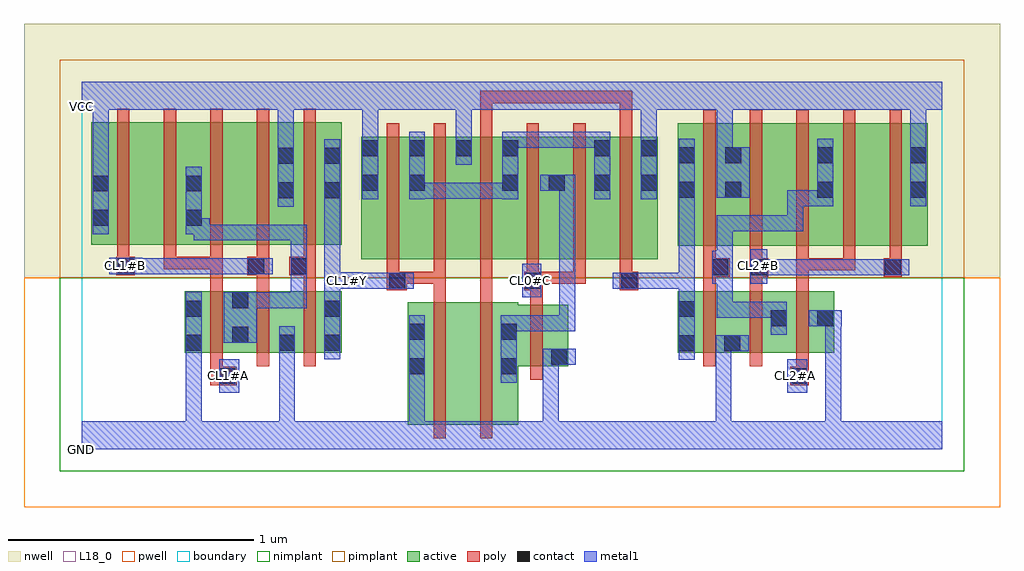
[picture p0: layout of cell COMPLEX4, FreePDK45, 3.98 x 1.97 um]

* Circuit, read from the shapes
.subckt COMPLEX4 CL0#C CL1#A CL1#B CL1#Y CL2#A CL2#B GND VCC
M1 n1 CL1#A GND VSUBS nfet w=0.25u l=0.05u
M2 GND CL1#B n1 VSUBS nfet w=0.25u l=0.05u
M3 CL1#Y n1 GND VSUBS nfet w=0.25u l=0.05u
M4 n2 CL1#Y GND VSUBS nfet w=0.5u l=0.05u
M5 n3 n4 n2 VSUBS nfet w=0.5u l=0.05u
M6 GND CL0#C n3 VSUBS nfet w=0.25u l=0.05u
M7 GND n5 n4 VSUBS nfet w=0.25u l=0.05u
M8 n5 CL2#B GND VSUBS nfet w=0.25u l=0.05u
M9 GND CL2#A n5 VSUBS nfet w=0.25u l=0.05u
M10 n6 CL1#B VCC n7 pfet w=0.5u l=0.05u
M11 n1 CL1#A n6 n7 pfet w=0.5u l=0.05u
M12 n8 CL1#A n1 n7 pfet w=0.5u l=0.05u
M13 VCC CL1#B n8 n7 pfet w=0.5u l=0.05u
M14 CL1#Y n1 VCC n7 pfet w=0.5u l=0.05u
M15 n9 CL1#Y VCC n7 pfet w=0.5u l=0.05u m=2
M16 n9 n4 VCC n7 pfet w=0.5u l=0.05u m=2
M17 n3 CL0#C n9 n7 pfet w=0.5u l=0.05u m=2
M18 VCC n5 n4 n7 pfet w=0.5u l=0.05u
M19 n10 CL2#B VCC n7 pfet w=0.5u l=0.05u
M20 n5 CL2#A n10 n7 pfet w=0.5u l=0.05u
M21 n11 CL2#A n5 n7 pfet w=0.5u l=0.05u
M22 VCC CL2#B n11 n7 pfet w=0.5u l=0.05u
.ends

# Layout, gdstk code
import gdstk
lib = gdstk.Library(unit=1e-6, precision=1e-09)
def R(c, l, rs):  # rectangles x0, y0, x1, y1
    for r in rs: c.add(gdstk.rectangle(r[:2], r[2:], *l))
def A(c, l, x, y, w, h, nx, ny, dx, dy):  # array of equal rectangles
    R(c, l, [(x+i*dx, y+j*dy, x+i*dx+w, y+j*dy+h) for i in range(nx) for j in range(ny)])
active = (1, 0)
pwell = (2, 0)
nwell = (3, 0)
nimplant = (4, 0)
pimplant = (5, 0)
poly = (9, 0)
contact = (10, 0)
metal1 = (11, 0)
L18_0 = (18, 0)
boundary = (235, 0)

complex4 = lib.new_cell('COMPLEX4')
A(complex4, active, 1.14, 0.775, 0.265, 0.5, 4, 1, 0.19, 0)
A(complex4, active, 1.33, 0.782, 0.075, 0.493, 3, 1, 0.19, 0)
R(complex4, active, [(1.33,0.1,1.555,0.6), (1.555,0.1,1.78,0.6), (1.33,0.132,1.405,0.6), (1.705,0.2,1.78,0.59), (1.705,0.34,1.985,0.59), (1.91,0.34,1.985,0.59), (0.42,0.395,0.495,0.645), (0.42,0.395,0.685,0.645), (0.61,0.395,0.685,0.645), (0.61,0.395,0.875,0.645), (0.8,0.395,0.875,0.597), (0.8,0.395,1.06,0.645), (0.985,0.395,1.06,0.645), (2.43,0.395,2.505,0.645), (2.43,0.395,2.69,0.645), (2.615,0.395,2.88,0.645), (2.615,0.395,2.69,0.597), (2.805,0.395,2.88,0.645), (2.805,0.395,3.07,0.645), (2.995,0.395,3.07,0.645), (1.14,0.775,1.215,1.275), (1.9,0.775,2.16,1.275), (2.085,0.775,2.35,1.275), (2.275,0.775,2.35,1.275), (1.9,0.782,1.975,1.17), (2.085,0.782,2.16,1.275), (2.43,0.83,2.695,1.33), (2.43,0.83,2.505,1.3), (2.62,0.83,2.845,1.33), (2.845,0.83,3.07,1.33), (2.995,0.83,3.225,1.33), (3.225,0.83,3.45,1.33), (3.375,0.83,3.45,1.255), (0.04,0.835,0.265,1.335), (0.04,0.835,0.115,1.255), (0.265,0.835,0.495,1.335), (0.42,0.835,0.645,1.335), (0.645,0.835,0.87,1.335), (0.795,0.835,1.06,1.335), (0.985,0.835,1.06,1.3), (0.42,0.907,0.495,1.255), (0.795,0.907,0.87,1.255), (2.62,0.907,2.695,1.255), (2.995,0.907,3.07,1.255)])
R(complex4, pwell, [(-0.235,-0.235,3.745,0.7)])
R(complex4, nwell, [(-0.235,0.7,3.745,1.735)])
R(complex4, nimplant, [(-0.09,-0.09,3.6,0.7)])
R(complex4, pimplant, [(-0.09,0.7,3.6,1.59)])
A(complex4, poly, 0.525, 0.34, 0.05, 0.36, 3, 1, 0.19, 0)
A(complex4, poly, 2.535, 0.34, 0.05, 0.36, 3, 1, 0.19, 0)
A(complex4, poly, 1.245, 0.675, 0.05, 0.095, 6, 1, 0.19, 0)
A(complex4, poly, 1.245, 0.72, 0.05, 0.61, 6, 1, 0.19, 0)
A(complex4, poly, 2.535, 0.73, 0.05, 0.095, 5, 1, 0.19, 0)
A(complex4, poly, 0.145, 0.735, 0.05, 0.095, 5, 1, 0.19, 0)
A(complex4, poly, 2.535, 0.775, 0.05, 0.61, 5, 1, 0.19, 0)
A(complex4, poly, 0.145, 0.78, 0.05, 0.61, 5, 1, 0.19, 0)
R(complex4, poly, [(1.435,0.045,1.485,0.655), (1.625,0.045,1.675,0.655), (0.525,0.262,0.632,0.337), (2.89,0.262,2.965,0.337), (1.83,0.285,1.88,0.645), (0.525,0.287,0.575,0.39), (2.915,0.287,2.965,0.39), (1.83,0.595,1.88,0.7), (1.435,0.605,1.485,0.725), (1.625,0.605,1.675,0.725), (0.525,0.65,0.575,0.785), (0.715,0.65,0.765,0.76), (0.905,0.65,0.955,0.76), (1.245,0.65,1.325,0.725), (1.805,0.65,1.88,0.725), (2.195,0.65,2.27,0.725), (2.535,0.65,2.585,0.755), (2.725,0.65,2.775,0.755), (2.915,0.65,2.965,0.78), (1.275,0.675,1.485,0.725), (1.435,0.675,1.485,0.725), (1.435,0.675,1.485,0.725), (1.435,0.675,1.485,0.725), (1.625,0.675,1.675,0.725), (1.83,0.675,1.88,0.725), (1.83,0.675,1.88,0.725), (1.83,0.675,2.055,0.725), (2.005,0.675,2.055,0.725), (2.535,0.705,2.642,0.78), (2.725,0.705,2.8,0.78), (3.27,0.705,3.345,0.78), (0.142,0.71,0.217,0.785), (0.675,0.71,0.765,0.785), (0.847,0.71,0.955,0.785), (2.915,0.73,3.155,0.78), (2.915,0.73,2.965,0.78), (2.915,0.73,2.965,0.78), (2.915,0.73,2.965,0.78), (3.105,0.73,3.155,0.78), (0.335,0.735,0.575,0.785), (0.335,0.735,0.385,0.785), (0.335,0.735,0.385,0.785), (0.335,0.735,0.385,0.785), (0.525,0.735,0.575,0.785), (1.625,1.28,1.675,1.462), (2.195,1.28,2.245,1.462), (1.625,1.412,1.675,1.462), (1.625,1.412,1.675,1.462), (1.625,1.412,1.675,1.462), (1.625,1.412,1.922,1.462), (1.872,1.412,2.112,1.462), (1.872,1.412,1.922,1.462), (1.872,1.412,1.922,1.462), (1.872,1.412,1.922,1.462), (2.062,1.412,2.112,1.462), (2.062,1.412,2.245,1.462), (2.195,1.412,2.245,1.462), (2.195,1.412,2.245,1.462), (2.195,1.412,2.245,1.462)])
A(complex4, contact, 1.145, 1.195, 0.065, 0.065, 4, 1, 0.19, 0)
R(complex4, contact, [(0.562,0.267,0.627,0.332), (2.895,0.267,2.96,0.332), (1.335,0.307,1.4,0.372), (1.71,0.307,1.775,0.372), (1.915,0.345,1.98,0.41), (2.435,0.4,2.5,0.465), (2.62,0.4,2.685,0.465), (0.425,0.402,0.49,0.467), (0.805,0.402,0.87,0.467), (0.99,0.402,1.055,0.467), (0.615,0.435,0.68,0.5), (1.335,0.447,1.4,0.512), (1.71,0.447,1.775,0.512), (2.81,0.502,2.875,0.567), (3,0.502,3.065,0.567), (2.435,0.54,2.5,0.605), (0.425,0.542,0.49,0.607), (0.99,0.542,1.055,0.607), (0.615,0.575,0.68,0.64), (1.255,0.655,1.32,0.72), (1.81,0.655,1.875,0.72), (2.2,0.655,2.265,0.72), (2.572,0.71,2.637,0.775), (2.73,0.71,2.795,0.775), (3.275,0.71,3.34,0.775), (0.147,0.715,0.212,0.78), (0.68,0.715,0.745,0.78), (0.852,0.715,0.917,0.78), (0.045,0.912,0.11,0.977), (0.425,0.912,0.49,0.977), (0.8,1.025,0.865,1.09), (0.99,1.025,1.055,1.09), (2.435,1.027,2.5,1.092), (2.625,1.027,2.69,1.092), (3,1.027,3.065,1.092), (3.38,1.027,3.445,1.092), (0.045,1.052,0.11,1.117), (0.425,1.052,0.49,1.117), (1.145,1.055,1.21,1.12), (1.335,1.055,1.4,1.12), (1.715,1.055,1.78,1.12), (1.905,1.055,1.97,1.12), (2.09,1.055,2.155,1.12), (2.28,1.055,2.345,1.12), (0.8,1.165,0.865,1.23), (0.99,1.165,1.055,1.23), (2.435,1.167,2.5,1.232), (2.625,1.167,2.69,1.232), (3,1.167,3.065,1.232), (3.38,1.167,3.445,1.232), (2.09,1.195,2.155,1.26), (2.28,1.195,2.345,1.26)])
R(complex4, metal1, [(0,0,3.51,0.115), (0.425,0.05,0.49,0.115), (0.425,0.05,0.49,0.115), (0.425,0.05,0.49,0.432), (0.805,0.05,0.87,0.432), (1.335,0.05,1.4,0.115), (1.335,0.05,1.4,0.115), (1.335,0.05,1.4,0.337), (1.88,0.05,1.945,0.115), (1.88,0.05,1.945,0.115), (1.88,0.05,1.945,0.41), (2.585,0.05,2.65,0.115), (2.585,0.05,2.65,0.115), (2.585,0.05,2.65,0.115), (2.585,0.05,2.65,0.115), (2.585,0.05,2.65,0.115), (2.585,0.05,2.65,0.115), (2.585,0.05,2.65,0.465), (3.032,0.05,3.097,0.115), (3.032,0.05,3.097,0.115), (3.032,0.05,3.097,0.567), (0.562,0.232,0.642,0.367), (2.877,0.232,2.96,0.367), (1.335,0.272,1.4,0.547), (1.71,0.272,1.775,0.547), (1.88,0.345,1.945,0.41), (1.88,0.345,1.945,0.41), (1.88,0.345,1.945,0.41), (1.88,0.345,1.945,0.41), (1.88,0.345,2.015,0.41), (2.435,0.365,2.5,0.64), (0.425,0.367,0.49,0.432), (0.425,0.367,0.49,0.432), (0.425,0.367,0.49,0.432), (0.425,0.367,0.49,0.432), (0.425,0.367,0.49,0.642), (0.805,0.367,0.87,0.432), (0.805,0.367,0.87,0.432), (0.805,0.367,0.87,0.432), (0.805,0.367,0.87,0.432), (0.805,0.367,0.87,0.432), (0.805,0.367,0.87,0.432), (0.805,0.367,0.87,0.502), (0.99,0.367,1.055,0.642), (2.585,0.4,2.72,0.465), (0.58,0.435,0.715,0.64), (2.81,0.467,2.875,0.602), (1.71,0.482,1.775,0.547), (1.71,0.482,1.775,0.547), (1.71,0.482,2.012,0.547), (1.947,0.482,2.012,0.547), (1.947,0.482,2.012,0.547), (1.947,0.482,2.012,0.547), (1.947,0.482,2.012,1.12), (2.965,0.502,3.1,0.567), (3.032,0.502,3.097,0.567), (3.032,0.502,3.097,0.567), (3.032,0.502,3.097,0.567), (3.032,0.502,3.097,0.567), (2.59,0.537,2.655,0.602), (2.59,0.537,2.775,0.602), (2.59,0.537,2.655,0.74), (2.71,0.537,2.775,0.602), (2.71,0.537,2.875,0.602), (0.65,0.575,0.715,0.64), (0.65,0.575,0.715,0.64), (0.65,0.575,0.917,0.64), (0.852,0.575,0.917,0.64), (0.852,0.575,0.917,0.815), (2.435,0.575,2.5,0.72), (0.99,0.577,1.055,0.72), (1.797,0.62,1.875,0.757), (0.99,0.655,1.147,0.722), (1.082,0.655,1.147,0.72), (1.082,0.655,1.147,0.72), (1.082,0.655,1.285,0.72), (1.22,0.655,1.355,0.72), (2.165,0.655,2.3,0.72), (2.235,0.655,2.5,0.72), (2.435,0.655,2.5,0.72), (2.435,0.655,2.5,0.72), (2.435,0.655,2.5,0.72), (2.435,0.655,2.5,1.057), (0.99,0.657,1.055,1.055), (2.572,0.675,2.637,0.81), (2.572,0.675,2.655,0.74), (2.59,0.675,2.655,0.74), (2.59,0.675,2.655,0.955), (2.727,0.675,2.795,0.817), (0.852,0.68,0.917,0.815), (2.73,0.71,2.795,0.775), (2.73,0.71,2.795,0.775), (2.73,0.71,2.99,0.775), (2.925,0.71,2.99,0.775), (2.925,0.71,3.127,0.775), (3.062,0.71,3.127,0.775), (3.062,0.71,3.127,0.775), (3.062,0.71,3.127,0.775), (3.062,0.71,3.305,0.775), (3.24,0.71,3.305,0.775), (3.24,0.71,3.305,0.775), (3.24,0.71,3.375,0.775), (0.112,0.715,0.247,0.782), (0.182,0.715,0.247,0.78), (0.182,0.715,0.247,0.78), (0.182,0.715,0.385,0.78), (0.32,0.715,0.385,0.78), (0.32,0.715,0.385,0.78), (0.32,0.715,0.385,0.78), (0.32,0.715,0.572,0.78), (0.507,0.715,0.572,0.78), (0.507,0.715,0.71,0.78), (0.645,0.715,0.71,0.78), (0.645,0.715,0.71,0.78), (0.645,0.715,0.78,0.78), (0.852,0.75,0.917,0.815), (0.852,0.75,0.917,0.815), (0.852,0.75,0.917,0.917), (0.457,0.852,0.727,0.917), (0.457,0.852,0.522,0.942), (0.662,0.852,0.727,0.917), (0.662,0.852,0.727,0.917), (0.662,0.852,0.727,0.917), (0.662,0.852,0.917,0.917), (0.852,0.852,0.917,0.917), (0.045,0.877,0.11,1.152), (0.425,0.877,0.49,1.152), (0.425,0.877,0.522,0.942), (2.59,0.89,2.655,0.955), (2.59,0.89,2.805,0.955), (2.74,0.89,2.805,0.955), (2.74,0.89,2.805,0.955), (2.74,0.89,2.805,0.955), (2.74,0.89,2.942,0.955), (2.877,0.89,2.942,1.057), (0.8,0.99,0.865,1.265), (0.99,0.99,1.055,1.265), (2.435,0.992,2.5,1.267), (2.877,0.992,3.065,1.057), (3,0.992,3.065,1.267), (3.38,0.992,3.445,1.267), (1.145,1.02,1.21,1.295), (1.335,1.02,1.4,1.295), (1.715,1.02,1.78,1.295), (2.09,1.02,2.155,1.295), (2.28,1.02,2.345,1.295), (1.335,1.022,1.4,1.087), (1.335,1.022,1.4,1.087), (1.335,1.022,1.537,1.087), (1.472,1.022,1.537,1.087), (1.472,1.022,1.537,1.087), (1.472,1.022,1.537,1.087), (1.472,1.022,1.78,1.087), (2.59,1.027,2.725,1.232), (1.87,1.055,2.012,1.12), (0.045,1.087,0.11,1.152), (0.045,1.087,0.11,1.152), (0.045,1.087,0.11,1.45), (1.525,1.16,1.59,1.295), (2.59,1.167,2.655,1.232), (2.59,1.167,2.655,1.232), (2.59,1.167,2.655,1.45), (0.8,1.2,0.865,1.265), (0.8,1.2,0.865,1.265), (0.8,1.2,0.865,1.45), (3.38,1.202,3.445,1.267), (3.38,1.202,3.445,1.267), (3.38,1.202,3.445,1.45), (1.145,1.23,1.21,1.45), (1.525,1.23,1.59,1.45), (1.715,1.23,1.78,1.295), (1.715,1.23,1.78,1.295), (1.715,1.23,1.78,1.295), (1.715,1.23,1.78,1.295), (1.715,1.23,2.012,1.295), (1.947,1.23,2.012,1.295), (1.947,1.23,2.012,1.295), (1.947,1.23,2.012,1.295), (1.947,1.23,2.155,1.295), (2.28,1.23,2.345,1.45), (0,1.385,3.51,1.5), (1.145,1.385,1.21,1.45), (1.145,1.385,1.21,1.45), (1.525,1.385,1.59,1.45), (1.525,1.385,1.59,1.45), (2.28,1.385,2.345,1.45), (2.28,1.385,2.345,1.45)])
R(complex4, L18_0, [(0,0,3.51,0.115), (0.425,0.05,0.49,0.115), (0.425,0.05,0.49,0.115), (0.425,0.05,0.49,0.432), (0.805,0.05,0.87,0.432), (1.335,0.05,1.4,0.115), (1.335,0.05,1.4,0.115), (1.335,0.05,1.4,0.337), (1.88,0.05,1.945,0.115), (1.88,0.05,1.945,0.115), (1.88,0.05,1.945,0.41), (2.585,0.05,2.65,0.115), (2.585,0.05,2.65,0.115), (2.585,0.05,2.65,0.115), (2.585,0.05,2.65,0.115), (2.585,0.05,2.65,0.115), (2.585,0.05,2.65,0.115), (2.585,0.05,2.65,0.465), (3.032,0.05,3.097,0.115), (3.032,0.05,3.097,0.115), (3.032,0.05,3.097,0.567), (0.562,0.232,0.642,0.367), (2.877,0.232,2.96,0.367), (0.567,0.267,0.632,0.332), (2.877,0.267,2.942,0.332), (1.335,0.272,1.4,0.547), (1.88,0.345,1.945,0.41), (1.88,0.345,1.945,0.41), (1.88,0.345,1.945,0.41), (1.88,0.345,1.945,0.41), (1.88,0.345,2.015,0.41), (0.425,0.367,0.49,0.642), (0.425,0.367,0.49,0.432), (0.425,0.367,0.49,0.432), (0.425,0.367,0.49,0.432), (0.425,0.367,0.49,0.432), (0.805,0.367,0.87,0.432), (0.805,0.367,0.87,0.432), (0.805,0.367,0.87,0.432), (0.805,0.367,0.87,0.432), (0.805,0.367,0.87,0.432), (0.805,0.367,0.87,0.432), (0.805,0.367,0.87,0.502), (0.99,0.367,1.055,0.642), (2.585,0.4,2.72,0.465), (2.965,0.502,3.1,0.567), (3.032,0.502,3.097,0.567), (3.032,0.502,3.097,0.567), (3.032,0.502,3.097,0.567), (3.032,0.502,3.097,0.567), (0.99,0.577,1.055,0.72), (1.797,0.62,1.875,0.757), (0.99,0.655,1.147,0.722), (1.082,0.655,1.147,0.72), (1.082,0.655,1.147,0.72), (1.082,0.655,1.285,0.72), (1.22,0.655,1.355,0.72), (0.99,0.657,1.055,1.055), (1.047,0.657,1.112,0.722), (1.797,0.657,1.862,0.722), (2.727,0.675,2.795,0.817), (2.73,0.71,2.795,0.775), (2.73,0.71,2.795,0.775), (2.73,0.71,2.99,0.775), (2.925,0.71,2.99,0.775), (2.925,0.71,3.127,0.775), (3.062,0.71,3.127,0.775), (3.062,0.71,3.127,0.775), (3.062,0.71,3.127,0.775), (3.062,0.71,3.305,0.775), (3.24,0.71,3.305,0.775), (3.24,0.71,3.305,0.775), (3.24,0.71,3.375,0.775), (0.112,0.715,0.247,0.782), (0.182,0.715,0.247,0.78), (0.182,0.715,0.247,0.78), (0.182,0.715,0.385,0.78), (0.32,0.715,0.385,0.78), (0.32,0.715,0.385,0.78), (0.32,0.715,0.385,0.78), (0.32,0.715,0.572,0.78), (0.507,0.715,0.572,0.78), (0.507,0.715,0.71,0.78), (0.645,0.715,0.71,0.78), (0.645,0.715,0.71,0.78), (0.645,0.715,0.78,0.78), (0.147,0.717,0.212,0.782), (2.727,0.717,2.792,0.782), (0.045,0.877,0.11,1.152), (0.8,0.99,0.865,1.265), (0.99,0.99,1.055,1.265), (3.38,0.992,3.445,1.267), (1.145,1.02,1.21,1.295), (2.28,1.02,2.345,1.295), (2.59,1.027,2.725,1.232), (0.045,1.087,0.11,1.152), (0.045,1.087,0.11,1.152), (0.045,1.087,0.11,1.45), (1.525,1.16,1.59,1.295), (2.59,1.167,2.655,1.232), (2.59,1.167,2.655,1.232), (2.59,1.167,2.655,1.45), (0.8,1.2,0.865,1.265), (0.8,1.2,0.865,1.265), (0.8,1.2,0.865,1.45), (3.38,1.202,3.445,1.267), (3.38,1.202,3.445,1.267), (3.38,1.202,3.445,1.45), (1.145,1.23,1.21,1.45), (1.525,1.23,1.59,1.45), (2.28,1.23,2.345,1.45), (0,1.385,3.51,1.5), (1.145,1.385,1.21,1.45), (1.145,1.385,1.21,1.45), (1.525,1.385,1.59,1.45), (1.525,1.385,1.59,1.45), (2.28,1.385,2.345,1.45), (2.28,1.385,2.345,1.45)])
R(complex4, boundary, [(0,0,3.51,1.5)])
complex4.add(gdstk.Label('CL0#C', (1.83,0.69), layer=11, texttype=0))
complex4.add(gdstk.Label('CL1#A', (0.6,0.3), layer=11, texttype=0))
complex4.add(gdstk.Label('CL1#B', (0.18,0.75), layer=11, texttype=0))
complex4.add(gdstk.Label('CL1#Y', (1.08,0.69), layer=11, texttype=0))
complex4.add(gdstk.Label('CL2#A', (2.91,0.3), layer=11, texttype=0))
complex4.add(gdstk.Label('CL2#B', (2.76,0.75), layer=11, texttype=0))
complex4.add(gdstk.Label('VCC', (0,1.4), layer=11, texttype=0))
complex4.add(gdstk.Label('GND', (0,0), layer=11, texttype=0))

lib.write_gds('COMPLEX4.gds')
